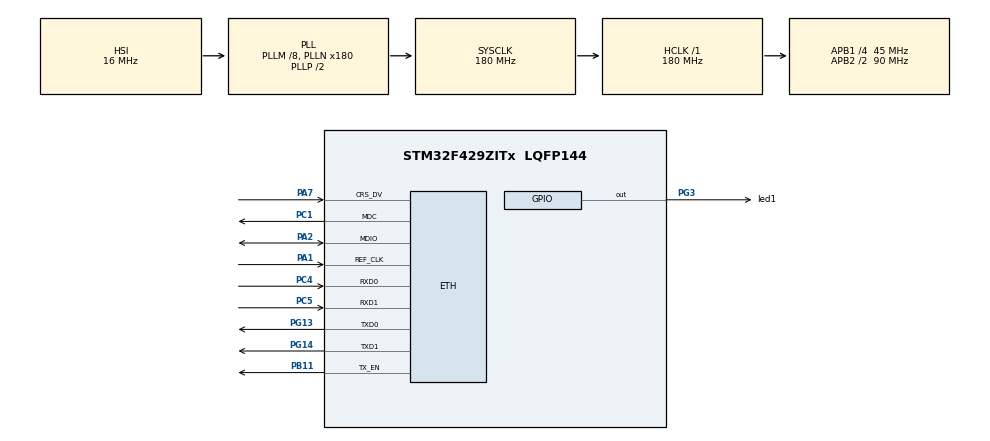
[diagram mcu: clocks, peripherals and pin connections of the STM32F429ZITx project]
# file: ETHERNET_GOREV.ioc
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ETH.MediaInterface=HAL_ETH_RMII_MODE
FREERTOS.Tasks01=defaultTask,24,1024,StartDefaultTask,Default,NULL,Dynamic,NULL,NULL;StartUdpServerT,8,128,StartTask02,Default,NULL,Dynamic,NULL,NULL
LWIP.BSP.number=1
LWIP.GATEWAY_ADDRESS=192.168.000.001
LWIP.IP_ADDRESS=192.168.000.123
LWIP.LWIP_DHCP=0
LWIP.NETMASK_ADDRESS=255.255.255.000
LWIP.Version=v2.1.2_Cube
LWIP0.BSP.STBoard=false
LWIP0.BSP.api=BSP_COMPONENT_DRIVER
LWIP0.BSP.component=DP83848
LWIP0.BSP.instance=DP83848
LWIP0.BSP.name=Driver_PHY
LWIP0.BSP.semaphore=S_DP83848
LWIP0.BSP.solution=DP83848
Mcu.Family=STM32F4
Mcu.Name=STM32F429ZITx
Mcu.Package=LQFP144
NVIC.ETH_IRQn=true\:6\:0\:true\:false\:true\:true\:false\:true\:true
NVIC.PriorityGroup=NVIC_PRIORITYGROUP_4
NVIC.TIM1_UP_TIM10_IRQn=true\:15\:0\:false\:false\:true\:false\:false\:true\:true
NVIC.TimeBase=TIM1_UP_TIM10_IRQn
NVIC.TimeBaseIP=TIM1
PA1.Mode=RMII
PA1.Signal=ETH_REF_CLK
PA2.Mode=RMII
PA2.Signal=ETH_MDIO
PA7.Mode=RMII
PA7.Signal=ETH_CRS_DV
PB11.Mode=RMII
PB11.Signal=ETH_TX_EN
PC1.Mode=RMII
PC1.Signal=ETH_MDC
PC4.Mode=RMII
PC4.Signal=ETH_RXD0
PC5.Mode=RMII
PC5.Signal=ETH_RXD1
PG13.Mode=RMII
PG13.Signal=ETH_TXD0
PG14.Mode=RMII
PG14.Signal=ETH_TXD1
PG3.GPIO_Label=led1
PG3.Signal=GPIO_Output
ProjectManager.HeapSize=0x200
ProjectManager.StackSize=0x400
ProjectManager.TargetToolchain=STM32CubeIDE
RCC.48MHZClocksFreq_Value=90000000
RCC.AHBFreq_Value=180000000
RCC.APB1CLKDivider=RCC_HCLK_DIV4
RCC.APB1Freq_Value=45000000
RCC.APB1TimFreq_Value=90000000
RCC.APB2CLKDivider=RCC_HCLK_DIV2
RCC.APB2Freq_Value=90000000
RCC.APB2TimFreq_Value=180000000
RCC.CortexFreq_Value=180000000
RCC.HCLKFreq_Value=180000000
RCC.HSE_VALUE=25000000
RCC.HSI_VALUE=16000000
RCC.LSE_VALUE=32768
RCC.PLLM=8
RCC.PLLN=180
RCC.SYSCLKFreq_VALUE=180000000
RCC.SYSCLKSource=RCC_SYSCLKSOURCE_PLLCLK
RCC.VCOOutputFreq_Value=360000000
VP_FREERTOS_VS_CMSIS_V2.Mode=CMSIS_V2
VP_LWIP_VS_Enabled.Mode=Enabled
VP_SYS_VS_tim1.Mode=TIM1
board=custom

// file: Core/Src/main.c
/* USER CODE BEGIN Header */
/**
  ******************************************************************************
  * @file           : main.c
  * @brief          : Main program body
  ******************************************************************************
  * @attention
  *
  * Copyright (c) 2026 STMicroelectronics.
  * All rights reserved.
  *
  * This software is licensed under terms that can be found in the LICENSE file
  * in the root directory of this software component.
  * If no LICENSE file comes with this software, it is provided AS-IS.
  *
  ******************************************************************************
  */
/* USER CODE END Header */
#include "main.h"
#include "cmsis_os.h"
#include "lwip.h"

/* USER CODE BEGIN Includes */
#include "udpserver.h"
#include "lwip/api.h"
#include "processcommand.h"
/* USER CODE END Includes */

/* Definitions for defaultTask */
osThreadId_t defaultTaskHandle;
const osThreadAttr_t defaultTask_attributes = {
  .name = "defaultTask",
  .stack_size = 1024 * 4,
  .priority = (osPriority_t) osPriorityNormal,
};
/* Definitions for StartUdpServerT */
osThreadId_t StartUdpServerTHandle;
const osThreadAttr_t StartUdpServerT_attributes = {
  .name = "StartUdpServerT",
  .stack_size = 128 * 4,
  .priority = (osPriority_t) osPriorityLow,
};
/* USER CODE BEGIN PV */
char stringBUF[128];
volatile int led_flag;
/* USER CODE END PV */

void SystemClock_Config(void);
static void MX_GPIO_Init(void);
void StartDefaultTask(void *argument);
void StartTask02(void *argument);

int main(void)
{

  /* MCU Configuration--------------------------------------------------------*/

  /* Reset of all peripherals, Initializes the Flash interface and the Systick. */
  HAL_Init();

  /* Configure the system clock */
  SystemClock_Config();

  /* Initialize all configured peripherals */
  MX_GPIO_Init();

  /* Init scheduler */
  osKernelInitialize();

  /* Create the thread(s) */
  /* creation of defaultTask */
  defaultTaskHandle = osThreadNew(StartDefaultTask, NULL, &defaultTask_attributes);

  /* creation of StartUdpServerT */
  StartUdpServerTHandle = osThreadNew(StartTask02, NULL, &StartUdpServerT_attributes);

  /* Start scheduler */
  osKernelStart();

  /* We should never get here as control is now taken by the scheduler */

  /* Infinite loop */
  while (1)
  {

  }
}

void SystemClock_Config(void)
{
  RCC_OscInitTypeDef RCC_OscInitStruct = {0};
  RCC_ClkInitTypeDef RCC_ClkInitStruct = {0};

  /** Configure the main internal regulator output voltage
  */
  __HAL_RCC_PWR_CLK_ENABLE();
  __HAL_PWR_VOLTAGESCALING_CONFIG(PWR_REGULATOR_VOLTAGE_SCALE1);

  /** Initializes the RCC Oscillators according to the specified parameters
  * in the RCC_OscInitTypeDef structure.
  */
  RCC_OscInitStruct.OscillatorType = RCC_OSCILLATORTYPE_HSI;
  RCC_OscInitStruct.HSIState = RCC_HSI_ON;
  RCC_OscInitStruct.HSICalibrationValue = RCC_HSICALIBRATION_DEFAULT;
  RCC_OscInitStruct.PLL.PLLState = RCC_PLL_ON;
  RCC_OscInitStruct.PLL.PLLSource = RCC_PLLSOURCE_HSI;
  RCC_OscInitStruct.PLL.PLLM = 8;
  RCC_OscInitStruct.PLL.PLLN = 180;
  RCC_OscInitStruct.PLL.PLLP = RCC_PLLP_DIV2;
  RCC_OscInitStruct.PLL.PLLQ = 4;
  if (HAL_RCC_OscConfig(&RCC_OscInitStruct) != HAL_OK)
  {
    Error_Handler();
  }

  /** Activate the Over-Drive mode
  */
  if (HAL_PWREx_EnableOverDrive() != HAL_OK)
  {
    Error_Handler();
  }

  /** Initializes the CPU, AHB and APB buses clocks
  */
  RCC_ClkInitStruct.ClockType = RCC_CLOCKTYPE_HCLK|RCC_CLOCKTYPE_SYSCLK
                              |RCC_CLOCKTYPE_PCLK1|RCC_CLOCKTYPE_PCLK2;
  RCC_ClkInitStruct.SYSCLKSource = RCC_SYSCLKSOURCE_PLLCLK;
  RCC_ClkInitStruct.AHBCLKDivider = RCC_SYSCLK_DIV1;
  RCC_ClkInitStruct.APB1CLKDivider = RCC_HCLK_DIV4;
  RCC_ClkInitStruct.APB2CLKDivider = RCC_HCLK_DIV2;

  if (HAL_RCC_ClockConfig(&RCC_ClkInitStruct, FLASH_LATENCY_5) != HAL_OK)
  {
    Error_Handler();
  }
}

static void MX_GPIO_Init(void)
{
  GPIO_InitTypeDef GPIO_InitStruct = {0};

  /* GPIO Ports Clock Enable */
  __HAL_RCC_GPIOC_CLK_ENABLE();
  __HAL_RCC_GPIOA_CLK_ENABLE();
  __HAL_RCC_GPIOB_CLK_ENABLE();
  __HAL_RCC_GPIOG_CLK_ENABLE();

  /*Configure GPIO pin Output Level */
  HAL_GPIO_WritePin(led1_GPIO_Port, led1_Pin, GPIO_PIN_RESET);

  /*Configure GPIO pin : led1_Pin */
  GPIO_InitStruct.Pin = led1_Pin;
  GPIO_InitStruct.Mode = GPIO_MODE_OUTPUT_PP;
  GPIO_InitStruct.Pull = GPIO_NOPULL;
  GPIO_InitStruct.Speed = GPIO_SPEED_FREQ_LOW;
  HAL_GPIO_Init(led1_GPIO_Port, &GPIO_InitStruct);

}

void StartDefaultTask(void *argument)
{
  /* init code for LWIP */
  MX_LWIP_Init();
  /* USER CODE BEGIN 5 */
  /* Infinite loop */
  for(;;)
  {
	  osDelay(10);
  }
  /* USER CODE END 5 */
}

void StartTask02(void *argument)
{
  /* USER CODE BEGIN StartTask02 */
	struct netconn *conn;
	struct netbuf *buf;

	conn = netconn_new(NETCONN_UDP);
	netconn_bind(conn, IP_ADDR_ANY, 7);
  /* Infinite loop */
  for(;;)
  {
	  if (netconn_recv(conn, &buf) == ERR_OK)
	  {
	      /* 1. ÖNCE veriyi kopyala (İşaretçi henüz en baştayken) */
	      u16_t copied_len = netbuf_copy(buf, stringBUF, sizeof(stringBUF) - 1);
	      stringBUF[copied_len] = '\0'; // Sonuna NULL ekle

	      /* 2. SONRA paketi yankı (echo) olarak geri gönder */
	      netconn_send(conn, buf);

	      /* 3. Komutu işle */
	      Process_Command(stringBUF, &led_flag);

	      /* 4. Belleği temizle ve bayrağı tetikle */
	      netbuf_delete(buf);
	  }
  }
  /* USER CODE END StartTask02 */
}

void HAL_TIM_PeriodElapsedCallback(TIM_HandleTypeDef *htim)
{
  if (htim->Instance == TIM1) {
    HAL_IncTick();
  }
}

void Error_Handler(void)
{
  __disable_irq();
  while (1)
  {
  }
}
